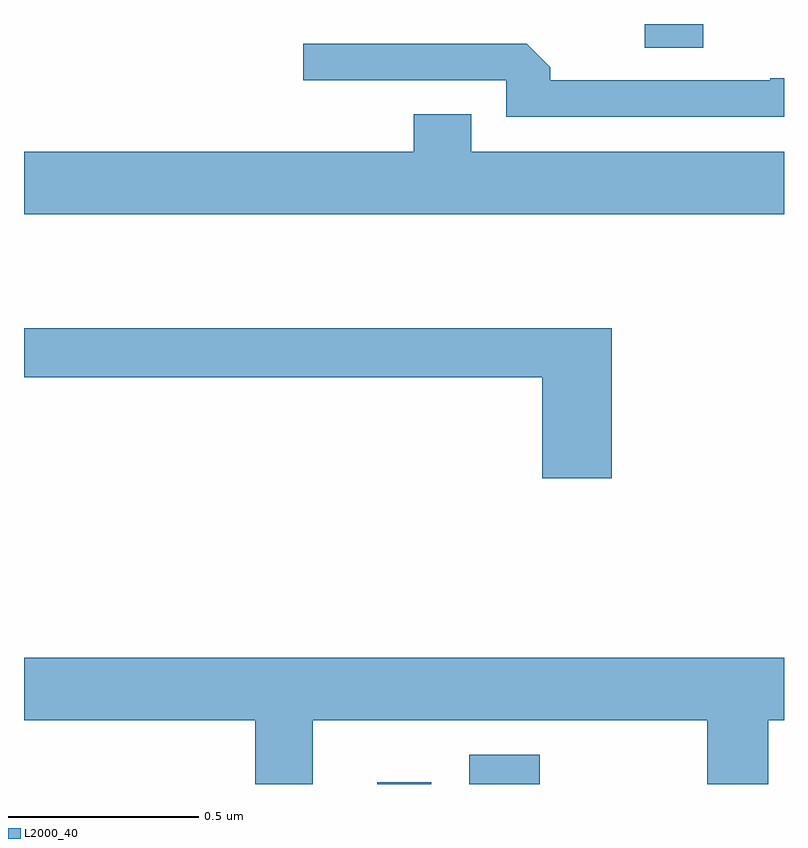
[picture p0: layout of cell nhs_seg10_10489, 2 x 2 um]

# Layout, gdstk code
import gdstk
lib = gdstk.Library(unit=1e-6, precision=1e-09)
def R(c, l, rs):  # rectangles x0, y0, x1, y1
    for r in rs: c.add(gdstk.rectangle(r[:2], r[2:], *l))
def P(c, l, *ps):  # polygons
    for p in ps: c.add(gdstk.Polygon(p, *l))
L2000_40 = (2000, 40)

nhs_seg10_10489 = lib.new_cell('nhs_seg10_10489')
R(nhs_seg10_10489, L2000_40, [(243.929,1281.5,244.072,1281.505), (244.172,1281.5,244.357,1281.577), (244.634,1283.437,244.787,1283.5)])
P(nhs_seg10_10489, L2000_40, [(245,1283.357),(244.964,1283.357),(244.964,1283.352),(244.385,1283.352),(244.385,1283.386),(244.323,1283.448),(243.735,1283.448),(243.735,1283.352),(244.269,1283.352),(244.269,1283.256),(245,1283.256)],
  [(245,1283.164),(244.177,1283.164),(244.177,1283.263),(244.025,1283.263),(244.025,1283.164),(243,1283.164),(243,1283),(245,1283)],
  [(244.547,1282.699),(243,1282.699),(243,1282.57),(244.364,1282.57),(244.364,1282.305),(244.547,1282.305)],
  [(243.76,1281.668),(244.798,1281.668),(244.798,1281.5),(244.958,1281.5),(244.958,1281.668),(245,1281.668),(245,1281.832),(243,1281.832),(243,1281.668),(243.608,1281.668),(243.608,1281.5),(243.76,1281.5)])

lib.write_gds('nhs_seg10_10489.gds')
